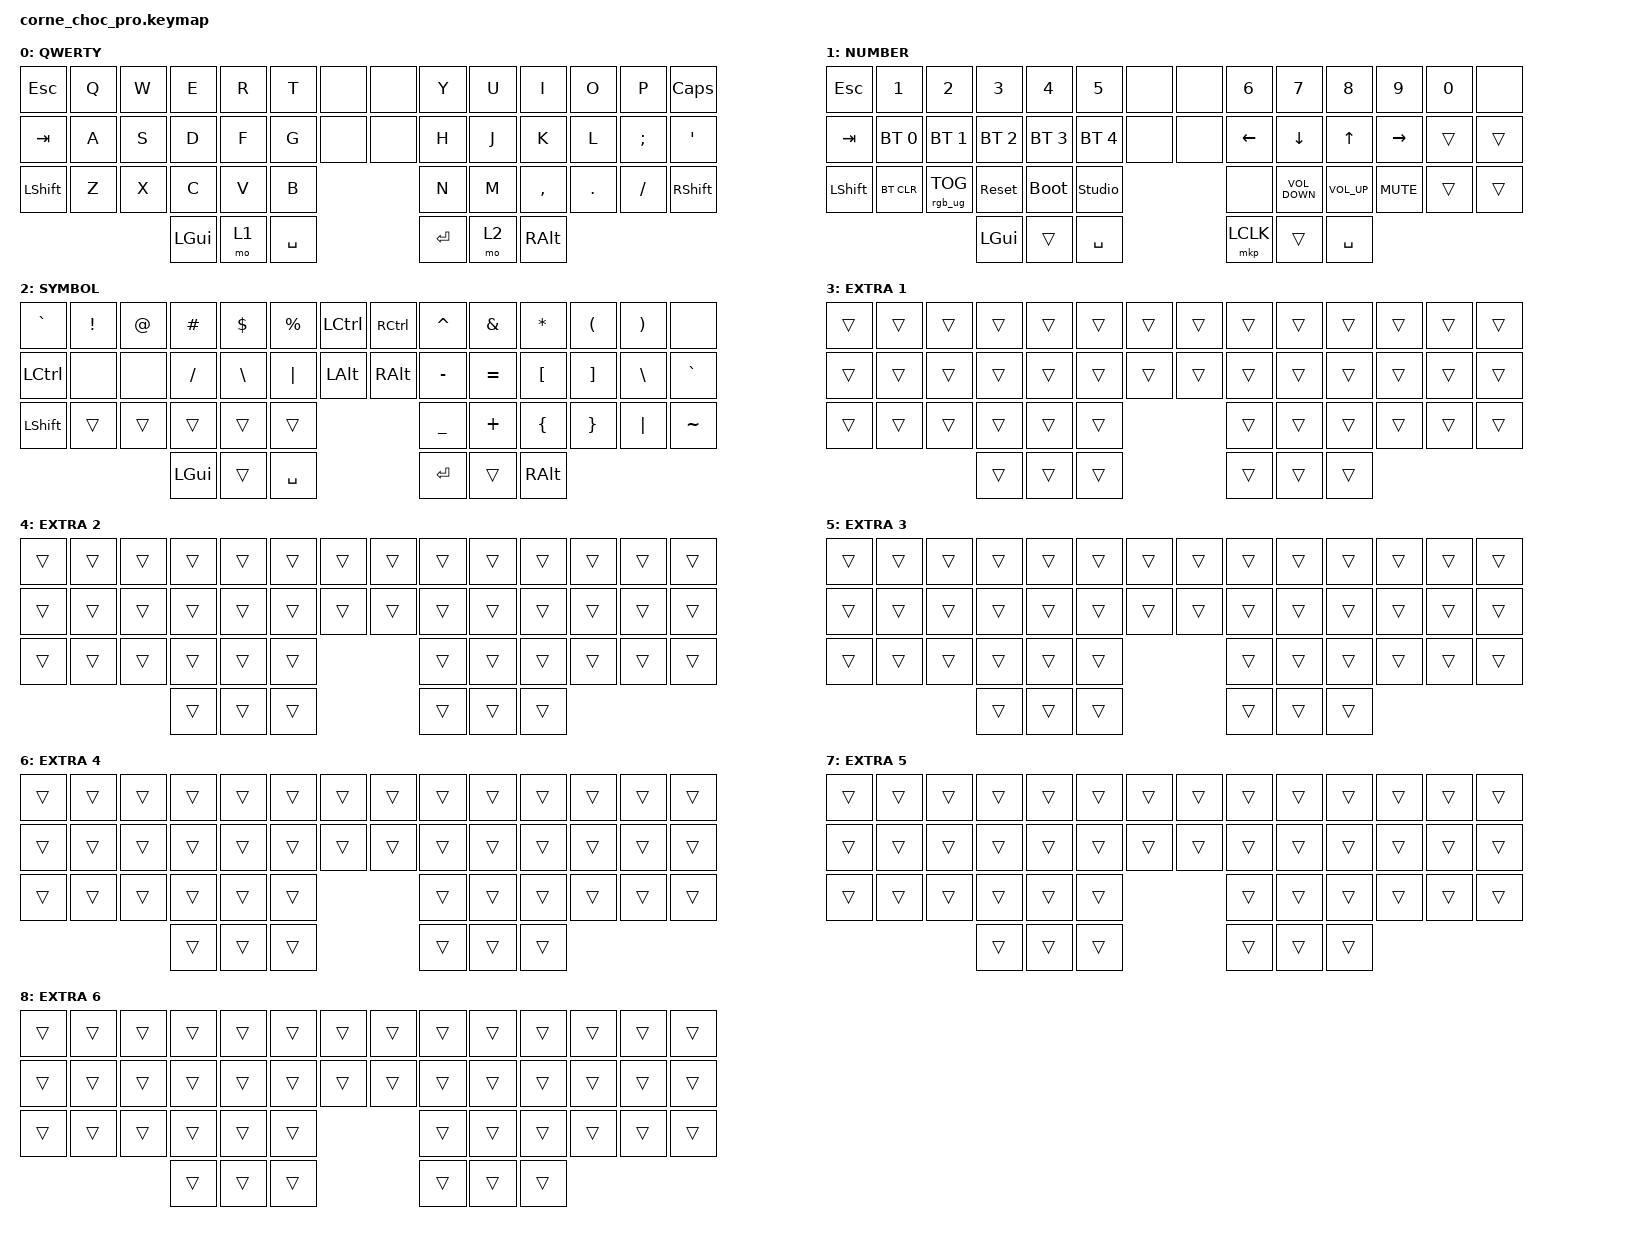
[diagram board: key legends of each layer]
/*
 * Copyright (c) 2020 The ZMK Contributors
 *
 * SPDX-License-Identifier: MIT
 */

#define ZMK_POINTING_DEFAULT_MOVE_VAL 1500  // default: 600
#define ZMK_POINTING_DEFAULT_SCRL_VAL 20    // default: 10

#include <behaviors.dtsi>
#include <dt-bindings/zmk/bt.h>
#include <dt-bindings/zmk/keys.h>
#include <dt-bindings/zmk/pointing.h>
#include <dt-bindings/zmk/rgb.h>

/ {
    chosen { zmk,physical-layout = &default_layout; };
};

/ {
    keymap {
        compatible = "zmk,keymap";

        default_layer {
            display-name = "QWERTY";
            bindings = <
&kp ESCAPE  &kp Q  &kp W  &kp E     &kp R  &kp T      &none  &none  &kp Y    &kp U  &kp I      &kp O    &kp P     &kp CAPS
&kp TAB     &kp A  &kp S  &kp D     &kp F  &kp G      &none  &none  &kp H    &kp J  &kp K      &kp L    &kp SEMI  &kp SINGLE_QUOTE
&kp LSHFT   &kp Z  &kp X  &kp C     &kp V  &kp B                    &kp N    &kp M  &kp COMMA  &kp DOT  &kp FSLH  &kp RSHFT
                          &kp LGUI  &mo 1  &kp SPACE                &kp RET  &mo 2  &kp RALT
            >;
        };

        lower_layer {
            display-name = "NUMBER";
            bindings = <
&kp ESCAPE  &kp N1        &kp N2           &kp N3        &kp N4        &kp N5          &none  &none  &kp N6     &kp N7             &kp N8           &kp N9      &kp N0  &none
&kp TAB     &bt BT_SEL 0  &bt BT_SEL 1     &bt BT_SEL 2  &bt BT_SEL 3  &bt BT_SEL 4    &none  &none  &kp LEFT   &kp DOWN           &kp UP           &kp RIGHT   &trans  &trans
&kp LSHFT   &bt BT_CLR    &rgb_ug RGB_TOG  &sys_reset    &bootloader   &studio_unlock                &none      &kp C_VOLUME_DOWN  &kp C_VOLUME_UP  &kp K_MUTE  &trans  &trans
                                           &kp LGUI      &trans        &kp SPACE                     &mkp LCLK  &trans             &kp SPACE
            >;
        };

        raise_layer {
            display-name = "SYMBOL";
            bindings = <
&kp GRAVE  &kp EXCL  &kp AT  &kp HASH   &kp DLLR       &kp PRCNT  &kp LCTRL  &kp RCTRL  &kp CARET  &kp AMPS   &kp ASTRK  &kp LPAR  &kp RPAR  &none
&kp LCTRL  &none     &none   &kp SLASH  &kp BACKSLASH  &kp PIPE   &kp LALT   &kp RALT   &kp MINUS  &kp EQUAL  &kp LBKT   &kp RBKT  &kp BSLH  &kp GRAVE
&kp LSHFT  &trans    &trans  &trans     &trans         &trans                           &kp UNDER  &kp PLUS   &kp LBRC   &kp RBRC  &kp PIPE  &kp TILDE
                             &kp LGUI   &trans         &kp SPACE                        &kp RET    &trans     &kp RALT
            >;
        };

        extra_layer_1 {
            display-name = "EXTRA 1";
            bindings = <
&trans  &trans  &trans  &trans  &trans  &trans  &trans  &trans  &trans  &trans  &trans  &trans  &trans  &trans
&trans  &trans  &trans  &trans  &trans  &trans  &trans  &trans  &trans  &trans  &trans  &trans  &trans  &trans
&trans  &trans  &trans  &trans  &trans  &trans                  &trans  &trans  &trans  &trans  &trans  &trans
                        &trans  &trans  &trans                  &trans  &trans  &trans
            >;
        };

        extra_layer_2 {
            display-name = "EXTRA 2";
            bindings = <
&trans  &trans  &trans  &trans  &trans  &trans  &trans  &trans  &trans  &trans  &trans  &trans  &trans  &trans
&trans  &trans  &trans  &trans  &trans  &trans  &trans  &trans  &trans  &trans  &trans  &trans  &trans  &trans
&trans  &trans  &trans  &trans  &trans  &trans                  &trans  &trans  &trans  &trans  &trans  &trans
                        &trans  &trans  &trans                  &trans  &trans  &trans
            >;
        };

        extra_layer_3 {
            display-name = "EXTRA 3";
            bindings = <
&trans  &trans  &trans  &trans  &trans  &trans  &trans  &trans  &trans  &trans  &trans  &trans  &trans  &trans
&trans  &trans  &trans  &trans  &trans  &trans  &trans  &trans  &trans  &trans  &trans  &trans  &trans  &trans
&trans  &trans  &trans  &trans  &trans  &trans                  &trans  &trans  &trans  &trans  &trans  &trans
                        &trans  &trans  &trans                  &trans  &trans  &trans
            >;
        };

        extra_layer_4 {
            display-name = "EXTRA 4";
            bindings = <
&trans  &trans  &trans  &trans  &trans  &trans  &trans  &trans  &trans  &trans  &trans  &trans  &trans  &trans
&trans  &trans  &trans  &trans  &trans  &trans  &trans  &trans  &trans  &trans  &trans  &trans  &trans  &trans
&trans  &trans  &trans  &trans  &trans  &trans                  &trans  &trans  &trans  &trans  &trans  &trans
                        &trans  &trans  &trans                  &trans  &trans  &trans
            >;
        };

        extra_layer_5 {
            display-name = "EXTRA 5";
            bindings = <
&trans  &trans  &trans  &trans  &trans  &trans  &trans  &trans  &trans  &trans  &trans  &trans  &trans  &trans
&trans  &trans  &trans  &trans  &trans  &trans  &trans  &trans  &trans  &trans  &trans  &trans  &trans  &trans
&trans  &trans  &trans  &trans  &trans  &trans                  &trans  &trans  &trans  &trans  &trans  &trans
                        &trans  &trans  &trans                  &trans  &trans  &trans
            >;
        };

        extra_layer_6 {
            display-name = "EXTRA 6";
            bindings = <
&trans  &trans  &trans  &trans  &trans  &trans  &trans  &trans  &trans  &trans  &trans  &trans  &trans  &trans
&trans  &trans  &trans  &trans  &trans  &trans  &trans  &trans  &trans  &trans  &trans  &trans  &trans  &trans
&trans  &trans  &trans  &trans  &trans  &trans                  &trans  &trans  &trans  &trans  &trans  &trans
                        &trans  &trans  &trans                  &trans  &trans  &trans
            >;
        };
    };
};
